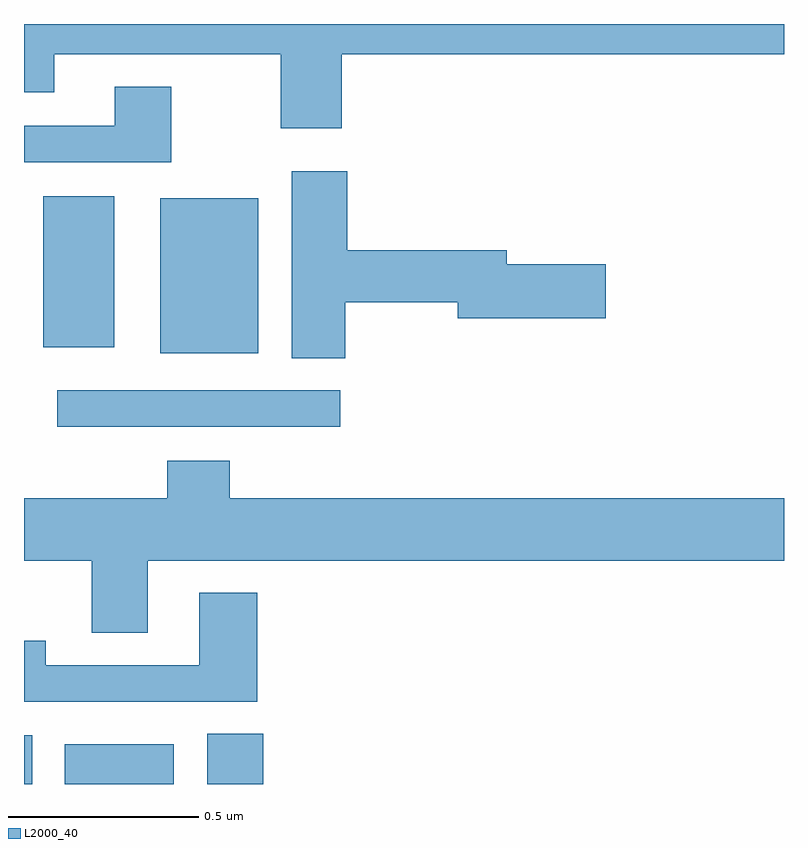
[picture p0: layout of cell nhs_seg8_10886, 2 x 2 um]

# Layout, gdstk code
import gdstk
lib = gdstk.Library(unit=1e-6, precision=1e-09)
def R(c, l, rs):  # rectangles x0, y0, x1, y1
    for r in rs: c.add(gdstk.rectangle(r[:2], r[2:], *l))
def P(c, l, *ps):  # polygons
    for p in ps: c.add(gdstk.Polygon(p, *l))
L2000_40 = (2000, 40)

nhs_seg8_10886 = lib.new_cell('nhs_seg8_10886')
R(nhs_seg8_10886, L2000_40, [(255,1127.9,255.022,1128.028), (255.107,1127.9,255.394,1128.004), (255.482,1127.9,255.629,1128.032), (255.087,1128.84,255.832,1128.936), (255.359,1129.034,255.616,1129.441), (255.05,1129.049,255.238,1129.447)])
P(nhs_seg8_10886, L2000_40, [(255.836,1129.82),(257,1129.82),(257,1129.9),(255,1129.9),(255,1129.721),(255.079,1129.721),(255.079,1129.82),(255.676,1129.82),(255.676,1129.626),(255.836,1129.626)],
  [(255.387,1129.735),(255.239,1129.735),(255.239,1129.632),(255,1129.632),(255,1129.536),(255.387,1129.536)],
  [(255.846,1129.168),(256.142,1129.168),(256.142,1129.126),(256.531,1129.126),(256.531,1129.268),(256.27,1129.268),(256.27,1129.304),(255.851,1129.304),(255.851,1129.513),(255.704,1129.513),(255.704,1129.021),(255.846,1129.021)],
  [(255.325,1128.488),(257,1128.488),(257,1128.652),(255.542,1128.652),(255.542,1128.751),(255.377,1128.751),(255.377,1128.652),(255,1128.652),(255,1128.488),(255.178,1128.488),(255.178,1128.298),(255.325,1128.298)],
  [(255.614,1128.403),(255.461,1128.403),(255.461,1128.213),(255.057,1128.213),(255.057,1128.277),(255,1128.277),(255,1128.117),(255.614,1128.117)])

lib.write_gds('nhs_seg8_10886.gds')
